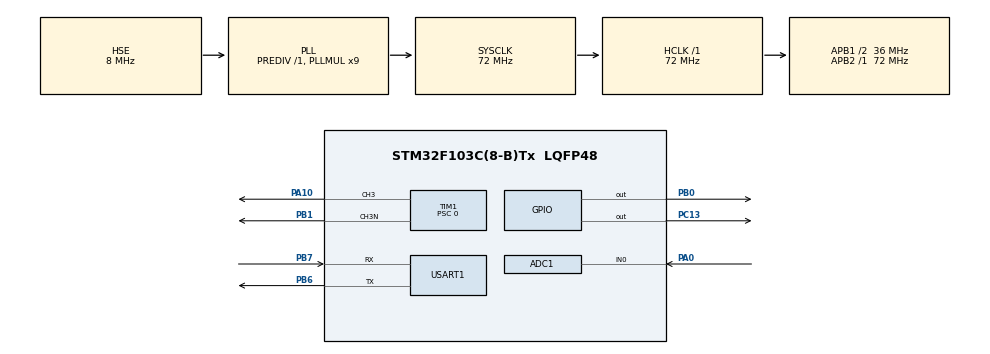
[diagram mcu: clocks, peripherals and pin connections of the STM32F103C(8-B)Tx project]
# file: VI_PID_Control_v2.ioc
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ADC1.Channel-0\#ChannelRegularConversion=ADC_CHANNEL_0
ADC1.ContinuousConvMode=DISABLE
ADC1.ExternalTrigConv=ADC_EXTERNALTRIGCONV_T3_TRGO
ADC1.NbrOfConversion=1
ADC1.NbrOfConversionFlag=1
ADC1.Rank-0\#ChannelRegularConversion=1
ADC1.SamplingTime-0\#ChannelRegularConversion=ADC_SAMPLETIME_239CYCLES_5
ADC1.master=1
Dma.ADC1.0.Direction=DMA_PERIPH_TO_MEMORY
Dma.ADC1.0.Instance=DMA1_Channel1
Dma.ADC1.0.MemDataAlignment=DMA_MDATAALIGN_HALFWORD
Dma.ADC1.0.MemInc=DMA_MINC_DISABLE
Dma.ADC1.0.Mode=DMA_CIRCULAR
Dma.ADC1.0.PeriphDataAlignment=DMA_PDATAALIGN_HALFWORD
Dma.ADC1.0.PeriphInc=DMA_PINC_DISABLE
Dma.ADC1.0.Priority=DMA_PRIORITY_LOW
Dma.Request0=ADC1
Mcu.Family=STM32F1
Mcu.Name=STM32F103C(8-B)Tx
Mcu.Package=LQFP48
NVIC.ADC1_2_IRQn=true\:0\:0\:false\:false\:true\:true\:true\:true
NVIC.DMA1_Channel1_IRQn=true\:0\:0\:false\:false\:true\:false\:true\:true
NVIC.PriorityGroup=NVIC_PRIORITYGROUP_4
NVIC.TIM1_TRG_COM_IRQn=true\:0\:0\:false\:false\:true\:true\:true\:true
NVIC.TIM1_UP_IRQn=true\:0\:0\:false\:false\:true\:true\:true\:true
NVIC.TIM3_IRQn=true\:0\:0\:false\:false\:true\:true\:true\:true
NVIC.USART1_IRQn=true\:0\:0\:false\:false\:true\:true\:true\:true
PA0-WKUP.Signal=ADCx_IN0
PA10.Signal=S_TIM1_CH3
PA13.Mode=Serial_Wire
PA13.Signal=SYS_JTMS-SWDIO
PA14.Mode=Serial_Wire
PA14.Signal=SYS_JTCK-SWCLK
PB0.Signal=GPIO_Output
PB1.Mode=PWM Generation3 CH3 CH3N
PB1.Signal=TIM1_CH3N
PB6.Mode=Asynchronous
PB6.Signal=USART1_TX
PB7.Mode=Asynchronous
PB7.Signal=USART1_RX
PC13-TAMPER-RTC.Signal=GPIO_Output
PC14-OSC32_IN.Mode=LSE-External-Oscillator
PC14-OSC32_IN.Signal=RCC_OSC32_IN
PC15-OSC32_OUT.Mode=LSE-External-Oscillator
PC15-OSC32_OUT.Signal=RCC_OSC32_OUT
PD0-OSC_IN.Mode=HSE-External-Oscillator
PD0-OSC_IN.Signal=RCC_OSC_IN
PD1-OSC_OUT.Mode=HSE-External-Oscillator
PD1-OSC_OUT.Signal=RCC_OSC_OUT
ProjectManager.HeapSize=0x200
ProjectManager.StackSize=0x400
ProjectManager.TargetToolchain=STM32CubeIDE
RCC.ADCPresc=RCC_ADCPCLK2_DIV6
RCC.AHBFreq_Value=72000000
RCC.APB1CLKDivider=RCC_HCLK_DIV2
RCC.APB1Freq_Value=36000000
RCC.APB1TimFreq_Value=72000000
RCC.APB2Freq_Value=72000000
RCC.APB2TimFreq_Value=72000000
RCC.HCLKFreq_Value=72000000
RCC.PLLMUL=RCC_PLL_MUL9
RCC.PLLSourceVirtual=RCC_PLLSOURCE_HSE
RCC.SYSCLKFreq_VALUE=72000000
RCC.SYSCLKSource=RCC_SYSCLKSOURCE_PLLCLK
RCC.USBFreq_Value=72000000
SH.ADCx_IN0.0=ADC1_IN0,IN0
SH.S_TIM1_CH3.0=TIM1_CH3,PWM Generation3 CH3 CH3N
TIM1.AutoReloadPreload=TIM_AUTORELOAD_PRELOAD_ENABLE
TIM1.Channel-PWM\ Generation3\ CH3\ CH3N=TIM_CHANNEL_3
TIM1.Prescaler=0
TIM3.AutoReloadPreload=TIM_AUTORELOAD_PRELOAD_ENABLE
TIM3.Period=200
TIM3.Prescaler=36999
TIM3.TIM_MasterOutputTrigger=TIM_TRGO_UPDATE
USART1.VirtualMode=VM_ASYNC
VP_TIM1_VS_ClockSourceINT.Mode=Internal
VP_TIM3_VS_ClockSourceINT.Mode=Internal
board=custom

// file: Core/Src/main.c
/* USER CODE BEGIN Header */
/**
  ******************************************************************************
  * @file           : main.c
  * @brief          : Main program body
  ******************************************************************************
  * @attention
  *
  * Copyright (c) 2022 STMicroelectronics.
  * All rights reserved.
  *
  * This software is licensed under terms that can be found in the LICENSE file
  * in the root directory of this software component.
  * If no LICENSE file comes with this software, it is provided AS-IS.
  *
  ******************************************************************************
  */
/* USER CODE END Header */
#include "main.h"

/* USER CODE BEGIN Includes */
#include <stdio.h>
#include <string.h>
#include <math.h>
/* USER CODE END Includes */

/* USER CODE BEGIN PD */
#define PID_KP  15.0f
#define PID_KI  1.0f
#define PID_KD  18.00f

#define PID_TAU 0.02f

#define PID_LIM_MIN 0.0f
#define PID_LIM_MAX  255.0f

#define PID_LIM_MIN_INT -50.0f
#define PID_LIM_MAX_INT  50.0f

#define SAMPLE_TIME_S 0.1f

/* USER CODE END PD */

ADC_HandleTypeDef hadc1;
DMA_HandleTypeDef hdma_adc1;

TIM_HandleTypeDef htim1;
TIM_HandleTypeDef htim3;

UART_HandleTypeDef huart1;

void SystemClock_Config(void);
static void MX_GPIO_Init(void);
static void MX_TIM3_Init(void);
static void MX_DMA_Init(void);
static void MX_ADC1_Init(void);
static void MX_USART1_UART_Init(void);
static void MX_TIM1_Init(void);
/* USER CODE BEGIN PFP */
float adc2volt(uint16_t adc);
double volt2res(float v_sense);
double ntc2temp(double ntc_value);
/* USER CODE END PFP */

/* USER CODE BEGIN 0 */
uint8_t convComplete = 0;
uint8_t rxComplete = 0;

uint16_t adc_val[1];
uint16_t adc, accumulator, count = 0;
float v_sense = 0.00;
double ntc_value = 0.00;
double raw_temp = 0.00;

char msg[30]={0};
char msg2[40]={0};
char rxBuffer[1]={0};

double logntc, log3ntc = 0.0;

uint16_t duty = 0;

//PID Struct

typedef struct __PID{

	//Constantes PID
	double kp;
	double ki;
	double kd;

	double tau;

	//Limites de salida
	double limMin;
	double limMax;

	//limites para el termino integrador
	double limMinInt;
	double limMaxInt;

	//Tiempo de muestreo
	double T;

	//Memorias
	double prevError;
	double prevTemp;
	double integrator;
	double differentiator;

		//Salida del controlador
	double out;
}PID;

void PID_Init(PID* pid);
double PID_Update(PID* pid, double raw_temp,double setpoint);

PID pid1 = { PID_KP, PID_KI, PID_KD,
		PID_TAU,
		PID_LIM_MIN, PID_LIM_MAX,
		PID_LIM_MIN_INT, PID_LIM_MAX_INT,
        SAMPLE_TIME_S };

uint8_t set_temp = 0;
/* USER CODE END 0 */

int main(void)
{

  /* MCU Configuration--------------------------------------------------------*/

  /* Reset of all peripherals, Initializes the Flash interface and the Systick. */
  HAL_Init();

  /* Configure the system clock */
  SystemClock_Config();

  /* Initialize all configured peripherals */
  MX_GPIO_Init();
  MX_TIM3_Init();
  MX_DMA_Init();
  MX_ADC1_Init();
  MX_USART1_UART_Init();
  MX_TIM1_Init();
  /* USER CODE BEGIN 2 */
  HAL_TIM_Base_Start_IT(&htim3);
  HAL_ADC_Start_DMA(&hadc1, (uint32_t *)adc_val, 1);
  HAL_UART_Receive_IT(&huart1, (uint8_t *) rxBuffer, 1);
  HAL_TIMEx_PWMN_Start(&htim1, TIM_CHANNEL_3);
  TIM1->CCR3 = 0;

  PID_Init(&pid1);

  /* USER CODE END 2 */

  /* Infinite loop */
  /* USER CODE BEGIN WHILE */
	while (1){

		//Tiempo de refresco 10ms
		if(convComplete){
			if(count < 10){
				accumulator += adc_val[0];
				count++;
			}else{
				adc = accumulator/10;
				v_sense = adc2volt(adc);
				ntc_value = volt2res(v_sense);
				raw_temp = ntc2temp(ntc_value);

				duty = (uint16_t) PID_Update(&pid1,raw_temp,(double)set_temp);
				TIM1->CCR3 = (uint32_t) duty*(65535/255);
				sprintf(msg,"%3.1f,%d\n",raw_temp,(uint8_t)duty);
				HAL_UART_Transmit_IT(&huart1, (uint8_t*)msg, strlen(msg));
				accumulator = 0;
				count = 0;
			}
			convComplete = 0;
		}
		if(rxComplete){
			//setpoint update
			set_temp = rxBuffer[0];
			rxComplete = 0;
		}

    /* USER CODE END WHILE */

  }
}

void SystemClock_Config(void)
{
  RCC_OscInitTypeDef RCC_OscInitStruct = {0};
  RCC_ClkInitTypeDef RCC_ClkInitStruct = {0};
  RCC_PeriphCLKInitTypeDef PeriphClkInit = {0};

  /** Initializes the RCC Oscillators according to the specified parameters
  * in the RCC_OscInitTypeDef structure.
  */
  RCC_OscInitStruct.OscillatorType = RCC_OSCILLATORTYPE_HSE;
  RCC_OscInitStruct.HSEState = RCC_HSE_ON;
  RCC_OscInitStruct.HSEPredivValue = RCC_HSE_PREDIV_DIV1;
  RCC_OscInitStruct.HSIState = RCC_HSI_ON;
  RCC_OscInitStruct.PLL.PLLState = RCC_PLL_ON;
  RCC_OscInitStruct.PLL.PLLSource = RCC_PLLSOURCE_HSE;
  RCC_OscInitStruct.PLL.PLLMUL = RCC_PLL_MUL9;
  if (HAL_RCC_OscConfig(&RCC_OscInitStruct) != HAL_OK)
  {
    Error_Handler();
  }

  /** Initializes the CPU, AHB and APB buses clocks
  */
  RCC_ClkInitStruct.ClockType = RCC_CLOCKTYPE_HCLK|RCC_CLOCKTYPE_SYSCLK
                              |RCC_CLOCKTYPE_PCLK1|RCC_CLOCKTYPE_PCLK2;
  RCC_ClkInitStruct.SYSCLKSource = RCC_SYSCLKSOURCE_PLLCLK;
  RCC_ClkInitStruct.AHBCLKDivider = RCC_SYSCLK_DIV1;
  RCC_ClkInitStruct.APB1CLKDivider = RCC_HCLK_DIV2;
  RCC_ClkInitStruct.APB2CLKDivider = RCC_HCLK_DIV1;

  if (HAL_RCC_ClockConfig(&RCC_ClkInitStruct, FLASH_LATENCY_2) != HAL_OK)
  {
    Error_Handler();
  }
  PeriphClkInit.PeriphClockSelection = RCC_PERIPHCLK_ADC;
  PeriphClkInit.AdcClockSelection = RCC_ADCPCLK2_DIV6;
  if (HAL_RCCEx_PeriphCLKConfig(&PeriphClkInit) != HAL_OK)
  {
    Error_Handler();
  }
}

static void MX_ADC1_Init(void)
{

  ADC_ChannelConfTypeDef sConfig = {0};

  /** Common config
  */
  hadc1.Instance = ADC1;
  hadc1.Init.ScanConvMode = ADC_SCAN_DISABLE;
  hadc1.Init.ContinuousConvMode = DISABLE;
  hadc1.Init.DiscontinuousConvMode = DISABLE;
  hadc1.Init.ExternalTrigConv = ADC_EXTERNALTRIGCONV_T3_TRGO;
  hadc1.Init.DataAlign = ADC_DATAALIGN_RIGHT;
  hadc1.Init.NbrOfConversion = 1;
  if (HAL_ADC_Init(&hadc1) != HAL_OK)
  {
    Error_Handler();
  }

  /** Configure Regular Channel
  */
  sConfig.Channel = ADC_CHANNEL_0;
  sConfig.Rank = ADC_REGULAR_RANK_1;
  sConfig.SamplingTime = ADC_SAMPLETIME_239CYCLES_5;
  if (HAL_ADC_ConfigChannel(&hadc1, &sConfig) != HAL_OK)
  {
    Error_Handler();
  }

}

static void MX_TIM1_Init(void)
{

  TIM_ClockConfigTypeDef sClockSourceConfig = {0};
  TIM_MasterConfigTypeDef sMasterConfig = {0};
  TIM_OC_InitTypeDef sConfigOC = {0};
  TIM_BreakDeadTimeConfigTypeDef sBreakDeadTimeConfig = {0};

  htim1.Instance = TIM1;
  htim1.Init.Prescaler = 0;
  htim1.Init.CounterMode = TIM_COUNTERMODE_UP;
  htim1.Init.Period = 65535;
  htim1.Init.ClockDivision = TIM_CLOCKDIVISION_DIV1;
  htim1.Init.RepetitionCounter = 0;
  htim1.Init.AutoReloadPreload = TIM_AUTORELOAD_PRELOAD_ENABLE;
  if (HAL_TIM_Base_Init(&htim1) != HAL_OK)
  {
    Error_Handler();
  }
  sClockSourceConfig.ClockSource = TIM_CLOCKSOURCE_INTERNAL;
  if (HAL_TIM_ConfigClockSource(&htim1, &sClockSourceConfig) != HAL_OK)
  {
    Error_Handler();
  }
  if (HAL_TIM_PWM_Init(&htim1) != HAL_OK)
  {
    Error_Handler();
  }
  sMasterConfig.MasterOutputTrigger = TIM_TRGO_RESET;
  sMasterConfig.MasterSlaveMode = TIM_MASTERSLAVEMODE_DISABLE;
  if (HAL_TIMEx_MasterConfigSynchronization(&htim1, &sMasterConfig) != HAL_OK)
  {
    Error_Handler();
  }
  sConfigOC.OCMode = TIM_OCMODE_PWM1;
  sConfigOC.Pulse = 0;
  sConfigOC.OCPolarity = TIM_OCPOLARITY_HIGH;
  sConfigOC.OCNPolarity = TIM_OCNPOLARITY_HIGH;
  sConfigOC.OCFastMode = TIM_OCFAST_DISABLE;
  sConfigOC.OCIdleState = TIM_OCIDLESTATE_RESET;
  sConfigOC.OCNIdleState = TIM_OCNIDLESTATE_RESET;
  if (HAL_TIM_PWM_ConfigChannel(&htim1, &sConfigOC, TIM_CHANNEL_3) != HAL_OK)
  {
    Error_Handler();
  }
  sBreakDeadTimeConfig.OffStateRunMode = TIM_OSSR_DISABLE;
  sBreakDeadTimeConfig.OffStateIDLEMode = TIM_OSSI_DISABLE;
  sBreakDeadTimeConfig.LockLevel = TIM_LOCKLEVEL_OFF;
  sBreakDeadTimeConfig.DeadTime = 0;
  sBreakDeadTimeConfig.BreakState = TIM_BREAK_DISABLE;
  sBreakDeadTimeConfig.BreakPolarity = TIM_BREAKPOLARITY_HIGH;
  sBreakDeadTimeConfig.AutomaticOutput = TIM_AUTOMATICOUTPUT_DISABLE;
  if (HAL_TIMEx_ConfigBreakDeadTime(&htim1, &sBreakDeadTimeConfig) != HAL_OK)
  {
    Error_Handler();
  }
  HAL_TIM_MspPostInit(&htim1);

}

static void MX_TIM3_Init(void)
{

  TIM_ClockConfigTypeDef sClockSourceConfig = {0};
  TIM_MasterConfigTypeDef sMasterConfig = {0};

  htim3.Instance = TIM3;
  htim3.Init.Prescaler = 36999;
  htim3.Init.CounterMode = TIM_COUNTERMODE_UP;
  htim3.Init.Period = 20;
  htim3.Init.ClockDivision = TIM_CLOCKDIVISION_DIV1;
  htim3.Init.AutoReloadPreload = TIM_AUTORELOAD_PRELOAD_ENABLE;
  if (HAL_TIM_Base_Init(&htim3) != HAL_OK)
  {
    Error_Handler();
  }
  sClockSourceConfig.ClockSource = TIM_CLOCKSOURCE_INTERNAL;
  if (HAL_TIM_ConfigClockSource(&htim3, &sClockSourceConfig) != HAL_OK)
  {
    Error_Handler();
  }
  sMasterConfig.MasterOutputTrigger = TIM_TRGO_UPDATE;
  sMasterConfig.MasterSlaveMode = TIM_MASTERSLAVEMODE_DISABLE;
  if (HAL_TIMEx_MasterConfigSynchronization(&htim3, &sMasterConfig) != HAL_OK)
  {
    Error_Handler();
  }

}

static void MX_USART1_UART_Init(void)
{

  huart1.Instance = USART1;
  huart1.Init.BaudRate = 115200;
  huart1.Init.WordLength = UART_WORDLENGTH_8B;
  huart1.Init.StopBits = UART_STOPBITS_1;
  huart1.Init.Parity = UART_PARITY_NONE;
  huart1.Init.Mode = UART_MODE_TX_RX;
  huart1.Init.HwFlowCtl = UART_HWCONTROL_NONE;
  huart1.Init.OverSampling = UART_OVERSAMPLING_16;
  if (HAL_UART_Init(&huart1) != HAL_OK)
  {
    Error_Handler();
  }

}

static void MX_DMA_Init(void)
{

  /* DMA controller clock enable */
  __HAL_RCC_DMA1_CLK_ENABLE();

  /* DMA interrupt init */
  /* DMA1_Channel1_IRQn interrupt configuration */
  HAL_NVIC_SetPriority(DMA1_Channel1_IRQn, 0, 0);
  HAL_NVIC_EnableIRQ(DMA1_Channel1_IRQn);

}

static void MX_GPIO_Init(void)
{
  GPIO_InitTypeDef GPIO_InitStruct = {0};

  /* GPIO Ports Clock Enable */
  __HAL_RCC_GPIOC_CLK_ENABLE();
  __HAL_RCC_GPIOD_CLK_ENABLE();
  __HAL_RCC_GPIOA_CLK_ENABLE();
  __HAL_RCC_GPIOB_CLK_ENABLE();

  /*Configure GPIO pin Output Level */
  HAL_GPIO_WritePin(GPIOC, GPIO_PIN_13, GPIO_PIN_RESET);

  /*Configure GPIO pin Output Level */
  HAL_GPIO_WritePin(GPIOB, GPIO_PIN_0, GPIO_PIN_RESET);

  /*Configure GPIO pin : PC13 */
  GPIO_InitStruct.Pin = GPIO_PIN_13;
  GPIO_InitStruct.Mode = GPIO_MODE_OUTPUT_PP;
  GPIO_InitStruct.Pull = GPIO_NOPULL;
  GPIO_InitStruct.Speed = GPIO_SPEED_FREQ_LOW;
  HAL_GPIO_Init(GPIOC, &GPIO_InitStruct);

  /*Configure GPIO pin : PB0 */
  GPIO_InitStruct.Pin = GPIO_PIN_0;
  GPIO_InitStruct.Mode = GPIO_MODE_OUTPUT_PP;
  GPIO_InitStruct.Pull = GPIO_NOPULL;
  GPIO_InitStruct.Speed = GPIO_SPEED_FREQ_LOW;
  HAL_GPIO_Init(GPIOB, &GPIO_InitStruct);

}

/* USER CODE BEGIN 4 */
void HAL_TIM_PeriodElapsedCallback(TIM_HandleTypeDef *htim){
	if(htim->Instance == TIM3){
		HAL_GPIO_TogglePin(GPIOC, GPIO_PIN_13);
	}
}

void HAL_ADC_ConvCpltCallback(ADC_HandleTypeDef* hadc){
	convComplete = 1;
}

void HAL_UART_RxCpltCallback(UART_HandleTypeDef *huart){
	HAL_UART_Receive_IT(&huart1, (uint8_t *) rxBuffer, 1);
	rxComplete = 1;
}

float adc2volt(uint16_t adc){
	return ((float) adc * (10.65/4095.0));
}

double volt2res(float v_sense){
	return (double)((1400.0)*((11.4/v_sense)-1.0));
}

double ntc2temp(double ntc_value){
	double aux,t = 0.0;
	logntc = log(ntc_value);
	log3ntc = logntc * logntc * logntc;

	aux = (0.6876815095e-3 + (2.197912770e-4 * logntc) + (1.217031487e-7 * log3ntc));
	t = ((1.0/aux)-273.0);
	if(t<0)t=0;

	return t;
}

void PID_Init(PID* pid){
	pid->integrator = 0.0f;
	pid->differentiator = 0.0f;
	pid->prevError = 0.0f;
	pid->prevTemp = 0.0f;

	pid->out = 0.0f;

}

double PID_Update(PID* pid, double raw_temp, double setpoint){

	double error = setpoint - raw_temp;

	float proportional = pid->kp * error;

	pid->integrator = pid->integrator + 0.5f * pid->ki * pid->T * (error + pid->prevError);

	if (pid->integrator > pid->limMaxInt) {
		pid->integrator = pid->limMaxInt;

	} else if (pid->integrator < pid->limMinInt) {
		pid->integrator = pid->limMinInt;
	}

    pid->differentiator = -(2.0f * pid->kd * (raw_temp - pid->prevTemp)	/* Note: derivative on measurement, therefore minus sign in front of equation! */
                        + (2.0f * pid->tau - pid->T) * pid->differentiator)
                        / (2.0f * pid->tau + pid->T);

	/*
	* Compute output and apply limits
	*/
    pid->out = proportional + pid->integrator + pid->differentiator;

    if (pid->out > pid->limMax) {

        pid->out = pid->limMax;

    } else if (pid->out < pid->limMin) {

        pid->out = pid->limMin;

    }

	/* Store error and measurement for later use */
    pid->prevError = error;
    pid->prevTemp = raw_temp;

	/* Return controller output */
	return pid->out;
}

/* USER CODE END 4 */

void Error_Handler(void)
{
  __disable_irq();
  while (1)
  {
  }
}
